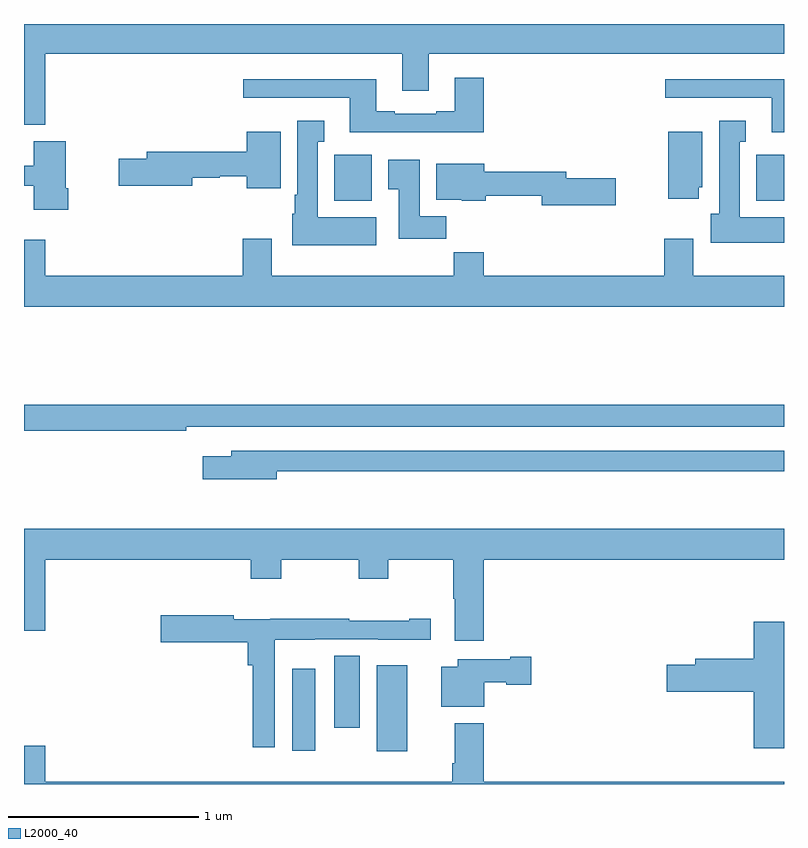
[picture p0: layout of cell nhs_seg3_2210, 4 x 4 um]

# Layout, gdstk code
import gdstk
lib = gdstk.Library(unit=1e-6, precision=1e-09)
def R(c, l, rs):  # rectangles x0, y0, x1, y1
    for r in rs: c.add(gdstk.rectangle(r[:2], r[2:], *l))
def P(c, l, *ps):  # polygons
    for p in ps: c.add(gdstk.Polygon(p, *l))
L2000_40 = (2000, 40)

nhs_seg3_2210 = lib.new_cell('nhs_seg3_2210')
R(nhs_seg3_2210, L2000_40, [(226.856,702.573,227.017,703.024), (226.412,702.576,226.534,703.006), (226.634,702.696,226.768,703.076), (226.634,705.47,226.831,705.712), (228.854,705.47,229,705.712)])
P(nhs_seg3_2210, L2000_40, [(225.112,706.244),(226.991,706.244),(226.991,706.05),(227.131,706.05),(227.131,706.244),(229,706.244),(229,706.4),(225,706.4),(225,705.87),(225.112,705.87)],
  [(227.42,706.117),(227.267,706.117),(227.267,705.94),(227.171,705.94),(227.171,705.927),(226.951,705.927),(226.951,705.94),(226.855,705.94),(226.855,706.108),(226.155,706.108),(226.155,706.011),(226.715,706.011),(226.715,705.83),(227.42,705.83)],
  [(229,706.108),(228.375,706.108),(228.375,706.011),(228.935,706.011),(228.935,705.83),(229,705.83)],
  [(226.855,705.382),(226.546,705.382),(226.546,705.779),(226.579,705.779),(226.579,705.892),(226.439,705.892),(226.439,705.502),(226.424,705.502),(226.424,705.402),(226.412,705.402),(226.412,705.236),(226.855,705.236)],
  [(229,705.382),(228.766,705.382),(228.766,705.779),(228.799,705.779),(228.799,705.892),(228.659,705.892),(228.659,705.402),(228.614,705.402),(228.614,705.248),(229,705.248)],
  [(226.351,705.832),(226.172,705.832),(226.172,705.728),(225.647,705.728),(225.647,705.692),(225.498,705.692),(225.498,705.55),(225.886,705.55),(225.886,705.592),(226.029,705.592),(226.029,705.6),(226.172,705.6),(226.172,705.536),(226.351,705.536)],
  [(228.55,705.54),(228.571,705.54),(228.571,705.832),(228.392,705.832),(228.392,705.48),(228.55,705.48)],
  [(225.233,705.535),(225.22,705.535),(225.22,705.784),(225.05,705.784),(225.05,705.653),(225,705.653),(225,705.55),(225.05,705.55),(225.05,705.423),(225.233,705.423)],
  [(227.222,705.388),(227.083,705.388),(227.083,705.685),(226.916,705.685),(226.916,705.529),(226.973,705.529),(226.973,705.27),(227.222,705.27)],
  [(228.115,705.587),(227.854,705.587),(227.854,705.623),(227.422,705.623),(227.422,705.664),(227.171,705.664),(227.171,705.476),(227.304,705.476),(227.304,705.47),(227.43,705.47),(227.43,705.495),(227.726,705.495),(227.726,705.445),(228.115,705.445)],
  [(229,705.076),(228.523,705.076),(228.523,705.271),(228.371,705.271),(228.371,705.076),(227.42,705.076),(227.42,705.2),(227.263,705.2),(227.263,705.076),(226.303,705.076),(226.303,705.271),(226.151,705.271),(226.151,705.076),(225.112,705.076),(225.112,705.265),(225,705.265),(225,704.912),(229,704.912)],
  [(225.854,704.28),(229,704.28),(229,704.396),(225,704.396),(225,704.26),(225.854,704.26)],
  [(226.33,704.046),(229,704.046),(229,704.154),(226.091,704.154),(226.091,704.125),(225.942,704.125),(225.942,704.003),(226.33,704.003)],
  [(227.42,703.58),(229,703.58),(229,703.744),(225,703.744),(225,703.206),(225.112,703.206),(225.112,703.58),(226.193,703.58),(226.193,703.481),(226.353,703.481),(226.353,703.58),(226.762,703.58),(226.762,703.481),(226.917,703.481),(226.917,703.58),(227.26,703.58),(227.26,703.376),(227.267,703.376),(227.267,703.155),(227.42,703.155)],
  [(226.32,703.16),(226.53,703.16),(226.53,703.161),(226.864,703.161),(226.864,703.16),(227.14,703.16),(227.14,703.27),(227.027,703.27),(227.027,703.26),(226.712,703.26),(226.712,703.27),(226.296,703.27),(226.296,703.267),(226.104,703.267),(226.104,703.287),(225.72,703.287),(225.72,703.145),(226.178,703.145),(226.178,703.025),(226.204,703.025),(226.204,702.594),(226.32,702.594)],
  [(229,703.255),(228.842,703.255),(228.842,703.058),(228.533,703.058),(228.533,703.028),(228.384,703.028),(228.384,702.886),(228.842,702.886),(228.842,702.588),(229,702.588)],
  [(227.422,702.935),(227.538,702.935),(227.538,702.923),(227.671,702.923),(227.671,703.07),(227.558,703.07),(227.558,703.057),(227.282,703.057),(227.282,703.018),(227.195,703.018),(227.195,702.806),(227.422,702.806)],
  [(227.42,702.721),(227.267,702.721),(227.267,702.508),(227.255,702.508),(227.255,702.412),(225.112,702.412),(225.112,702.601),(225,702.601),(225,702.4),(229,702.4),(229,702.412),(227.42,702.412)])

lib.write_gds('nhs_seg3_2210.gds')
